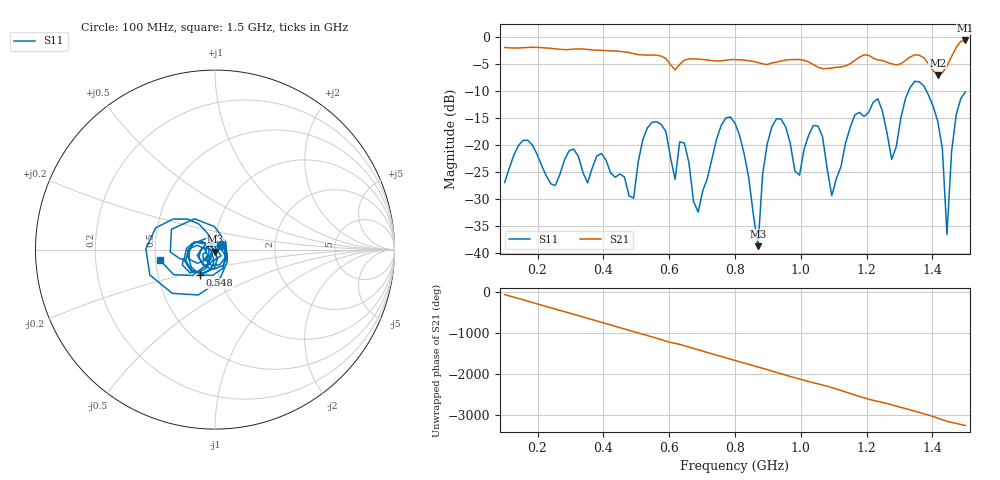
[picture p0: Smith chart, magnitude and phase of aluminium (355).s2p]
! NanoVNA-App
! Date: 2025-09-25 14:58:02
! Start: 100MHz Stop: 1,5GHz Points: 101
! S-Parameter data: F S11 S21 S12 S22
# Hz S RI R 50
!  Frequency  S11_Real  S11_Imag  S21_Real  S21_Imag  S12_Real  S12_Imag  S22_Real  S22_Imag
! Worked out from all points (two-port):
!   101 points, 100 MHz to 1.5 GHz, reference 50 ohm
!   highest |S21| = -0.63 dB at 1.5 GHz (marker M1); lowest = -7.0 dB at 1.416 GHz (marker M2)
!   |S21| within 3 dB of the highest: start of sweep to 578.7 MHz; 1.458 GHz to end of sweep (the widest 2 of 4)
!   lowest |S11| = -38.7 dB at 870 MHz (marker M3), VSWR 1.02, Z = 50.2 - j1.14 ohm
!   |S11| at or under -10 dB: start of sweep to 1.328 GHz; 1.382 GHz to end of sweep
!   S12 and S22 are empty: the file has one direction only
!   S11 on the Smith chart (normalised r, x): 100 MHz: 1.07, +0.06; 548 MHz: 0.82, -0.24; 1.5 GHz: 0.53, -0.07
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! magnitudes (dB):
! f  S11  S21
! 100 MHz  -27.0  -1.9
! 156 MHz  -19.1  -2.0
! 338 MHz  -25.1  -2.2
! 492 MHz  -29.9  -3.1
! 548 MHz  -15.8  -3.3
! 576 MHz  -16.2  -3.5
! 618 MHz  -26.4  -6.1
! 646 MHz  -19.6  -4.3
! 688 MHz  -32.4  -4.1
! 800 MHz  -16.0  -4.2
! 870 MHz  -38.7  -4.7
! 912 MHz  -16.7  -4.8
! 996 MHz  -25.6  -4.2
! 1.038 GHz  -16.4  -5.1
! 1.094 GHz  -29.4  -5.7
! 1.234 GHz  -11.4  -4.2
! 1.276 GHz  -22.6  -5.0
! 1.346 GHz  -8.2  -3.3
! 1.416 GHz  -15.6  -7.0
! 1.444 GHz  -36.6  -5.4
! 1.472 GHz  -14.4  -1.9
! 1.5 GHz  -10.1  -0.6
